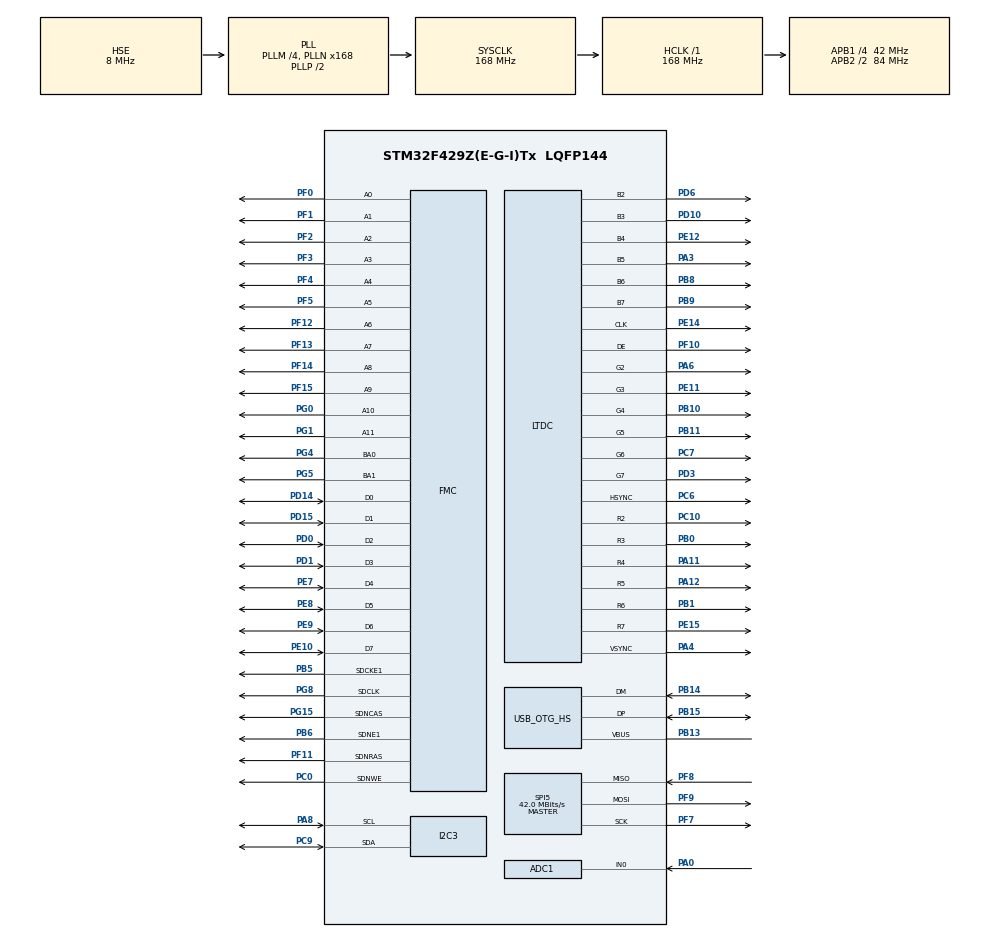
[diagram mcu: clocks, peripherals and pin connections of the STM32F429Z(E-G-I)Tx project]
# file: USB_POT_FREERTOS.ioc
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ADC1.Channel-0\#ChannelRegularConversion=ADC_CHANNEL_0
ADC1.NbrOfConversionFlag=1
ADC1.Rank-0\#ChannelRegularConversion=1
ADC1.SamplingTime-0\#ChannelRegularConversion=ADC_SAMPLETIME_3CYCLES
ADC1.master=1
DMA2D.ColorMode=DMA2D_OUTPUT_RGB565
FATFS._USE_STRFUNC=1
FREERTOS.Queues01=queue_usb,1,uint16_t,NULL,Dynamic,NULL,NULL
FREERTOS.Tasks01=USB,0,128,USB_TASK,Default,NULL,Dynamic,NULL,NULL;LCD,-3,128,LCD_TASK,Default,NULL,Dynamic,NULL,NULL;DATOS,-3,128,DATOS_TASK,Default,NULL,Dynamic,NULL,NULL
LTDC.ActiveH=240
LTDC.ActiveW=320
LTDC.PixelFormat_L0=LTDC_PIXEL_FORMAT_RGB565
LTDC.PixelFormat_L1=LTDC_PIXEL_FORMAT_RGB565
Mcu.Family=STM32F4
Mcu.Name=STM32F429Z(E-G-I)Tx
Mcu.Package=LQFP144
NVIC.OTG_HS_IRQn=true\:5\:0\:false\:false\:true\:true
NVIC.PriorityGroup=NVIC_PRIORITYGROUP_4
NVIC.TIM1_UP_TIM10_IRQn=true\:0\:0\:false\:false\:true\:false
NVIC.TimeBase=TIM1_UP_TIM10_IRQn
NVIC.TimeBaseIP=TIM1
PA0/WKUP.Signal=ADCx_IN0
PA11.Mode=RGB666
PA11.Signal=LTDC_R4
PA12.Mode=RGB666
PA12.Signal=LTDC_R5
PA13.Mode=Serial_Wire
PA13.Signal=SYS_JTMS-SWDIO
PA14.Mode=Serial_Wire
PA14.Signal=SYS_JTCK-SWCLK
PA3.Mode=RGB666
PA3.Signal=LTDC_B5
PA4.Mode=RGB666
PA4.Signal=LTDC_VSYNC
PA6.Mode=RGB666
PA6.Signal=LTDC_G2
PA8.Mode=I2C
PA8.Signal=I2C3_SCL
PB0.Mode=RGB666
PB0.Signal=LTDC_R3
PB1.Mode=RGB666
PB1.Signal=LTDC_R6
PB10.Mode=RGB666
PB10.Signal=LTDC_G4
PB11.Mode=RGB666
PB11.Signal=LTDC_G5
PB13.Mode=Activate_VBUS_FS
PB13.Signal=USB_OTG_HS_VBUS
PB14.Mode=Host_FS
PB14.Signal=USB_OTG_HS_DM
PB15.Mode=Host_FS
PB15.Signal=USB_OTG_HS_DP
PB5.Mode=SdramChipSelect2_1
PB5.Signal=FMC_SDCKE1
PB6.Mode=SdramChipSelect2_1
PB6.Signal=FMC_SDNE1
PB8.Mode=RGB666
PB8.Signal=LTDC_B6
PB9.Mode=RGB666
PB9.Signal=LTDC_B7
PC0.Signal=FMC_SDNWE
PC10.Mode=RGB666
PC10.Signal=LTDC_R2
PC6.Mode=RGB666
PC6.Signal=LTDC_HSYNC
PC7.Mode=RGB666
PC7.Signal=LTDC_G6
PC9.Mode=I2C
PC9.Signal=I2C3_SDA
PD0.Signal=FMC_D2_DA2
PD1.Signal=FMC_D3_DA3
PD10.Mode=RGB666
PD10.Signal=LTDC_B3
PD14.Signal=FMC_D0_DA0
PD15.Signal=FMC_D1_DA1
PD3.Mode=RGB666
PD3.Signal=LTDC_G7
PD6.Mode=RGB666
PD6.Signal=LTDC_B2
PE10.Signal=FMC_D7_DA7
PE11.Mode=RGB666
PE11.Signal=LTDC_G3
PE12.Mode=RGB666
PE12.Signal=LTDC_B4
PE14.Mode=RGB666
PE14.Signal=LTDC_CLK
PE15.Mode=RGB666
PE15.Signal=LTDC_R7
PE7.Signal=FMC_D4_DA4
PE8.Signal=FMC_D5_DA5
PE9.Signal=FMC_D6_DA6
PF0.Signal=FMC_A0
PF1.Signal=FMC_A1
PF10.Mode=RGB666
PF10.Signal=LTDC_DE
PF11.Signal=FMC_SDNRAS
PF12.Signal=FMC_A6
PF13.Signal=FMC_A7
PF14.Signal=FMC_A8
PF15.Signal=FMC_A9
PF2.Signal=FMC_A2
PF3.Signal=FMC_A3
PF4.Signal=FMC_A4
PF5.Signal=FMC_A5
PF7.Mode=Full_Duplex_Master
PF7.Signal=SPI5_SCK
PF8.Mode=Full_Duplex_Master
PF8.Signal=SPI5_MISO
PF9.Mode=Full_Duplex_Master
PF9.Signal=SPI5_MOSI
PG0.Signal=FMC_A10
PG1.Signal=FMC_A11
PG15.Signal=FMC_SDNCAS
PG4.Signal=FMC_A14_BA0
PG5.Signal=FMC_A15_BA1
PG8.Signal=FMC_SDCLK
PH0/OSC_IN.Mode=HSE-External-Oscillator
PH0/OSC_IN.Signal=RCC_OSC_IN
PH1/OSC_OUT.Mode=HSE-External-Oscillator
PH1/OSC_OUT.Signal=RCC_OSC_OUT
ProjectManager.HeapSize=0x200
ProjectManager.StackSize=0x400
ProjectManager.TargetToolchain=SW4STM32
RCC.48MHZClocksFreq_Value=48000000
RCC.AHBFreq_Value=168000000
RCC.APB1CLKDivider=RCC_HCLK_DIV4
RCC.APB1Freq_Value=42000000
RCC.APB1TimFreq_Value=84000000
RCC.APB2CLKDivider=RCC_HCLK_DIV2
RCC.APB2Freq_Value=84000000
RCC.APB2TimFreq_Value=168000000
RCC.CortexFreq_Value=168000000
RCC.HCLKFreq_Value=168000000
RCC.HSE_VALUE=8000000
RCC.HSI_VALUE=16000000
RCC.LSE_VALUE=32768
RCC.PLLM=4
RCC.PLLN=168
RCC.PLLQ=7
RCC.PLLSAIN=50
RCC.SYSCLKFreq_VALUE=168000000
RCC.SYSCLKSource=RCC_SYSCLKSOURCE_PLLCLK
RCC.VCOOutputFreq_Value=336000000
SH.ADCx_IN0.0=ADC1_IN0,IN0
SH.FMC_A0.0=FMC_A0,12b-sda1
SH.FMC_A1.0=FMC_A1,12b-sda1
SH.FMC_A10.0=FMC_A10,12b-sda1
SH.FMC_A11.0=FMC_A11,12b-sda1
SH.FMC_A14_BA0.0=FMC_BA0,FourSdramBanks1
SH.FMC_A15_BA1.0=FMC_BA1,FourSdramBanks1
SH.FMC_A2.0=FMC_A2,12b-sda1
SH.FMC_A3.0=FMC_A3,12b-sda1
SH.FMC_A4.0=FMC_A4,12b-sda1
SH.FMC_A5.0=FMC_A5,12b-sda1
SH.FMC_A6.0=FMC_A6,12b-sda1
SH.FMC_A7.0=FMC_A7,12b-sda1
SH.FMC_A8.0=FMC_A8,12b-sda1
SH.FMC_A9.0=FMC_A9,12b-sda1
SH.FMC_D0_DA0.0=FMC_D0,sd-8b-d1
SH.FMC_D1_DA1.0=FMC_D1,sd-8b-d1
SH.FMC_D2_DA2.0=FMC_D2,sd-8b-d1
SH.FMC_D3_DA3.0=FMC_D3,sd-8b-d1
SH.FMC_D4_DA4.0=FMC_D4,sd-8b-d1
SH.FMC_D5_DA5.0=FMC_D5,sd-8b-d1
SH.FMC_D6_DA6.0=FMC_D6,sd-8b-d1
SH.FMC_D7_DA7.0=FMC_D7,sd-8b-d1
SH.FMC_SDCLK.0=FMC_SDCLK,12b-sda1
SH.FMC_SDNCAS.0=FMC_SDNCAS,12b-sda1
SH.FMC_SDNRAS.0=FMC_SDNRAS,12b-sda1
SH.FMC_SDNWE.0=FMC_SDNWE,12b-sda1
SPI5.CalculateBaudRate=42.0 MBits/s
SPI5.Direction=SPI_DIRECTION_2LINES
SPI5.Mode=SPI_MODE_MASTER
SPI5.VirtualType=VM_MASTER
USB_HOST.USBH_HandleTypeDef-MSC_HS=hUsbHostHS
USB_HOST.VirtualModeHS=Msc
USB_OTG_HS.VirtualMode-Host_FS=Host_FS
VP_DMA2D_VS_DMA2D.Mode=DMA2D_Activate
VP_FATFS_VS_USB.Mode=USB
VP_FREERTOS_VS_ENABLE.Mode=Enabled
VP_SYS_VS_tim1.Mode=TIM1
VP_USB_HOST_VS_USB_HOST_MSC_HS.Mode=MSC_HS
board=STM32F429I-DISC1

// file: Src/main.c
/**
  ******************************************************************************
  * File Name          : main.c
  * Description        : Main program body
  ******************************************************************************
  * This notice applies to any and all portions of this file
  * that are not between comment pairs USER CODE BEGIN and
  * USER CODE END. Other portions of this file, whether
  * inserted by the user or by software development tools
  * are owned by their respective copyright owners.
  *
  * Copyright (c) 2017 STMicroelectronics International N.V.
  * All rights reserved.
  *
  * Redistribution and use in source and binary forms, with or without
  * modification, are permitted, provided that the following conditions are met:
  *
  * 1. Redistribution of source code must retain the above copyright notice,
  *    this list of conditions and the following disclaimer.
  * 2. Redistributions in binary form must reproduce the above copyright notice,
  *    this list of conditions and the following disclaimer in the documentation
  *    and/or other materials provided with the distribution.
  * 3. Neither the name of STMicroelectronics nor the names of other
  *    contributors to this software may be used to endorse or promote products
  *    derived from this software without specific written permission.
  * 4. This software, including modifications and/or derivative works of this
  *    software, must execute solely and exclusively on microcontroller or
  *    microprocessor devices manufactured by or for STMicroelectronics.
  * 5. Redistribution and use of this software other than as permitted under
  *    this license is void and will automatically terminate your rights under
  *    this license.
  *
  * THIS SOFTWARE IS PROVIDED BY STMICROELECTRONICS AND CONTRIBUTORS "AS IS"
  * AND ANY EXPRESS, IMPLIED OR STATUTORY WARRANTIES, INCLUDING, BUT NOT
  * LIMITED TO, THE IMPLIED WARRANTIES OF MERCHANTABILITY, FITNESS FOR A
  * PARTICULAR PURPOSE AND NON-INFRINGEMENT OF THIRD PARTY INTELLECTUAL PROPERTY
  * RIGHTS ARE DISCLAIMED TO THE FULLEST EXTENT PERMITTED BY LAW. IN NO EVENT
  * SHALL STMICROELECTRONICS OR CONTRIBUTORS BE LIABLE FOR ANY DIRECT, INDIRECT,
  * INCIDENTAL, SPECIAL, EXEMPLARY, OR CONSEQUENTIAL DAMAGES (INCLUDING, BUT NOT
  * LIMITED TO, PROCUREMENT OF SUBSTITUTE GOODS OR SERVICES; LOSS OF USE, DATA,
  * OR PROFITS; OR BUSINESS INTERRUPTION) HOWEVER CAUSED AND ON ANY THEORY OF
  * LIABILITY, WHETHER IN CONTRACT, STRICT LIABILITY, OR TORT (INCLUDING
  * NEGLIGENCE OR OTHERWISE) ARISING IN ANY WAY OUT OF THE USE OF THIS SOFTWARE,
  * EVEN IF ADVISED OF THE POSSIBILITY OF SUCH DAMAGE.
  *
  ******************************************************************************
  */
#include "main.h"
#include "stm32f4xx_hal.h"
#include "cmsis_os.h"
#include "fatfs.h"
#include "usb_host.h"
#include "stm32f429i_discovery.h"
#include "stm32f429i_discovery_lcd.h"

ADC_HandleTypeDef hadc1;

DMA2D_HandleTypeDef hdma2d;

I2C_HandleTypeDef hi2c3;

LTDC_HandleTypeDef hltdc;

SPI_HandleTypeDef hspi5;

SDRAM_HandleTypeDef hsdram1;

osThreadId USBHandle;
osThreadId LCDHandle;
osThreadId DATOSHandle;
osMessageQId queue_usbHandle;

/* USER CODE BEGIN PV */
/* Private variables ---------------------------------------------------------*/
typedef enum {
  DISCONNECTION_EVENT = 1,
  CONNECTION_EVENT,
}MSC_ApplicationTypeDef;

/* USER CODE BEGIN PV */
/* Private variables ---------------------------------------------------------*/
static void MSC_Application(void);
/* USER CODE END 0 */
FATFS USBDISKFatFs;           /* File system object for USB disk logical drive */
FIL MyFile;                   /* File object */
char USBDISKPath[4];          /* USB Host logical drive path */
USBH_HandleTypeDef hUSB_Host; /* USB Host handle */
int contador=0;
int boton=0;
int bandera=0;
/*
* user callbak declaration
*/
static void USBH_UserProcess  (USBH_HandleTypeDef *phost, uint8_t id);
/* USER CODE END PV */
extern Diskio_drvTypeDef  USBH_Driver;
/* USER CODE END PV */

void SystemClock_Config(void);
static void MX_GPIO_Init(void);
static void MX_DMA2D_Init(void);
static void MX_FMC_Init(void);
static void MX_I2C3_Init(void);
static void MX_LTDC_Init(void);
static void MX_SPI5_Init(void);
static void MX_ADC1_Init(void);
void USB_TASK(void const * argument);
void LCD_TASK(void const * argument);
void DATOS_TASK(void const * argument);

/* USER CODE BEGIN PFP */
/* Private function prototypes -----------------------------------------------*/

/* USER CODE END PFP */

int main(void)
{

  /* MCU Configuration----------------------------------------------------------*/

  /* Reset of all peripherals, Initializes the Flash interface and the Systick. */
  HAL_Init();

  /* Configure the system clock */
  SystemClock_Config();

  /* USER CODE BEGIN SysInit */
  BSP_LED_Init(LED3);
  BSP_LED_Init(LED4);
  BSP_PB_Init(BUTTON_KEY,BUTTON_MODE_GPIO);
  /* USER CODE END SysInit */

  /* Initialize all configured peripherals */
  MX_GPIO_Init();
  MX_DMA2D_Init();
  MX_FMC_Init();
  MX_I2C3_Init();
  MX_LTDC_Init();
  MX_SPI5_Init();
  MX_ADC1_Init();

  /* Create the thread(s) */
  /* definition and creation of USB */
  osThreadDef(USB, USB_TASK, osPriorityNormal, 0, 8 * configMINIMAL_STACK_SIZE);
  USBHandle = osThreadCreate(osThread(USB), NULL);

  /* definition and creation of LCD */
  osThreadDef(LCD, LCD_TASK, osPriorityIdle, 0, 128);
  LCDHandle = osThreadCreate(osThread(LCD), NULL);

  /* definition and creation of DATOS */
  osThreadDef(DATOS, DATOS_TASK, osPriorityHigh, 0, 128);
  DATOSHandle = osThreadCreate(osThread(DATOS), NULL);

  /* Create the queue(s) */
  /* definition and creation of queue_usb */
  osMessageQDef(queue_usb, 1, uint16_t);
  queue_usbHandle = osMessageCreate(osMessageQ(queue_usb), NULL);

  /* Start scheduler */
  osKernelStart();

  /* We should never get here as control is now taken by the scheduler */

  /* Infinite loop */
  while (1)
  {

  }

}

/** System Clock Configuration
*/
void SystemClock_Config(void)
{

  RCC_OscInitTypeDef RCC_OscInitStruct;
  RCC_ClkInitTypeDef RCC_ClkInitStruct;
  RCC_PeriphCLKInitTypeDef PeriphClkInitStruct;

    /**Configure the main internal regulator output voltage
    */
  __HAL_RCC_PWR_CLK_ENABLE();

  __HAL_PWR_VOLTAGESCALING_CONFIG(PWR_REGULATOR_VOLTAGE_SCALE1);

    /**Initializes the CPU, AHB and APB busses clocks
    */
  RCC_OscInitStruct.OscillatorType = RCC_OSCILLATORTYPE_HSE;
  RCC_OscInitStruct.HSEState = RCC_HSE_ON;
  RCC_OscInitStruct.PLL.PLLState = RCC_PLL_ON;
  RCC_OscInitStruct.PLL.PLLSource = RCC_PLLSOURCE_HSE;
  RCC_OscInitStruct.PLL.PLLM = 4;
  RCC_OscInitStruct.PLL.PLLN = 168;
  RCC_OscInitStruct.PLL.PLLP = RCC_PLLP_DIV2;
  RCC_OscInitStruct.PLL.PLLQ = 7;
  if (HAL_RCC_OscConfig(&RCC_OscInitStruct) != HAL_OK)
  {
    _Error_Handler(__FILE__, __LINE__);
  }

    /**Initializes the CPU, AHB and APB busses clocks
    */
  RCC_ClkInitStruct.ClockType = RCC_CLOCKTYPE_HCLK|RCC_CLOCKTYPE_SYSCLK
                              |RCC_CLOCKTYPE_PCLK1|RCC_CLOCKTYPE_PCLK2;
  RCC_ClkInitStruct.SYSCLKSource = RCC_SYSCLKSOURCE_PLLCLK;
  RCC_ClkInitStruct.AHBCLKDivider = RCC_SYSCLK_DIV1;
  RCC_ClkInitStruct.APB1CLKDivider = RCC_HCLK_DIV4;
  RCC_ClkInitStruct.APB2CLKDivider = RCC_HCLK_DIV2;

  if (HAL_RCC_ClockConfig(&RCC_ClkInitStruct, FLASH_LATENCY_5) != HAL_OK)
  {
    _Error_Handler(__FILE__, __LINE__);
  }

  PeriphClkInitStruct.PeriphClockSelection = RCC_PERIPHCLK_LTDC;
  PeriphClkInitStruct.PLLSAI.PLLSAIN = 50;
  PeriphClkInitStruct.PLLSAI.PLLSAIR = 2;
  PeriphClkInitStruct.PLLSAIDivR = RCC_PLLSAIDIVR_2;
  if (HAL_RCCEx_PeriphCLKConfig(&PeriphClkInitStruct) != HAL_OK)
  {
    _Error_Handler(__FILE__, __LINE__);
  }

    /**Configure the Systick interrupt time
    */
  HAL_SYSTICK_Config(HAL_RCC_GetHCLKFreq()/1000);

    /**Configure the Systick
    */
  HAL_SYSTICK_CLKSourceConfig(SYSTICK_CLKSOURCE_HCLK);

  /* SysTick_IRQn interrupt configuration */
  HAL_NVIC_SetPriority(SysTick_IRQn, 15, 0);
}

/* ADC1 init function */
static void MX_ADC1_Init(void)
{

  ADC_ChannelConfTypeDef sConfig;

    /**Configure the global features of the ADC (Clock, Resolution, Data Alignment and number of conversion)
    */
  hadc1.Instance = ADC1;
  hadc1.Init.ClockPrescaler = ADC_CLOCK_SYNC_PCLK_DIV4;
  hadc1.Init.Resolution = ADC_RESOLUTION_12B;
  hadc1.Init.ScanConvMode = DISABLE;
  hadc1.Init.ContinuousConvMode = DISABLE;
  hadc1.Init.DiscontinuousConvMode = DISABLE;
  hadc1.Init.ExternalTrigConvEdge = ADC_EXTERNALTRIGCONVEDGE_NONE;
  hadc1.Init.ExternalTrigConv = ADC_SOFTWARE_START;
  hadc1.Init.DataAlign = ADC_DATAALIGN_RIGHT;
  hadc1.Init.NbrOfConversion = 1;
  hadc1.Init.DMAContinuousRequests = DISABLE;
  hadc1.Init.EOCSelection = ADC_EOC_SINGLE_CONV;
  if (HAL_ADC_Init(&hadc1) != HAL_OK)
  {
    _Error_Handler(__FILE__, __LINE__);
  }

    /**Configure for the selected ADC regular channel its corresponding rank in the sequencer and its sample time.
    */
  sConfig.Channel = ADC_CHANNEL_0;
  sConfig.Rank = 1;
  sConfig.SamplingTime = ADC_SAMPLETIME_3CYCLES;
  if (HAL_ADC_ConfigChannel(&hadc1, &sConfig) != HAL_OK)
  {
    _Error_Handler(__FILE__, __LINE__);
  }

}

/* DMA2D init function */
static void MX_DMA2D_Init(void)
{

  hdma2d.Instance = DMA2D;
  hdma2d.Init.Mode = DMA2D_M2M;
  hdma2d.Init.ColorMode = DMA2D_OUTPUT_RGB565;
  hdma2d.Init.OutputOffset = 0;
  hdma2d.LayerCfg[1].InputOffset = 0;
  hdma2d.LayerCfg[1].InputColorMode = DMA2D_INPUT_RGB565;
  hdma2d.LayerCfg[1].AlphaMode = DMA2D_NO_MODIF_ALPHA;
  hdma2d.LayerCfg[1].InputAlpha = 0;
  if (HAL_DMA2D_Init(&hdma2d) != HAL_OK)
  {
    _Error_Handler(__FILE__, __LINE__);
  }

  if (HAL_DMA2D_ConfigLayer(&hdma2d, 1) != HAL_OK)
  {
    _Error_Handler(__FILE__, __LINE__);
  }

}

/* I2C3 init function */
static void MX_I2C3_Init(void)
{

  hi2c3.Instance = I2C3;
  hi2c3.Init.ClockSpeed = 100000;
  hi2c3.Init.DutyCycle = I2C_DUTYCYCLE_2;
  hi2c3.Init.OwnAddress1 = 0;
  hi2c3.Init.AddressingMode = I2C_ADDRESSINGMODE_7BIT;
  hi2c3.Init.DualAddressMode = I2C_DUALADDRESS_DISABLE;
  hi2c3.Init.OwnAddress2 = 0;
  hi2c3.Init.GeneralCallMode = I2C_GENERALCALL_DISABLE;
  hi2c3.Init.NoStretchMode = I2C_NOSTRETCH_DISABLE;
  if (HAL_I2C_Init(&hi2c3) != HAL_OK)
  {
    _Error_Handler(__FILE__, __LINE__);
  }

}

/* LTDC init function */
static void MX_LTDC_Init(void)
{

  LTDC_LayerCfgTypeDef pLayerCfg;
  LTDC_LayerCfgTypeDef pLayerCfg1;

  hltdc.Instance = LTDC;
  hltdc.Init.HSPolarity = LTDC_HSPOLARITY_AL;
  hltdc.Init.VSPolarity = LTDC_VSPOLARITY_AL;
  hltdc.Init.DEPolarity = LTDC_DEPOLARITY_AL;
  hltdc.Init.PCPolarity = LTDC_PCPOLARITY_IPC;
  hltdc.Init.HorizontalSync = 7;
  hltdc.Init.VerticalSync = 3;
  hltdc.Init.AccumulatedHBP = 14;
  hltdc.Init.AccumulatedVBP = 5;
  hltdc.Init.AccumulatedActiveW = 334;
  hltdc.Init.AccumulatedActiveH = 245;
  hltdc.Init.TotalWidth = 340;
  hltdc.Init.TotalHeigh = 247;
  hltdc.Init.Backcolor.Blue = 0;
  hltdc.Init.Backcolor.Green = 0;
  hltdc.Init.Backcolor.Red = 0;
  if (HAL_LTDC_Init(&hltdc) != HAL_OK)
  {
    _Error_Handler(__FILE__, __LINE__);
  }

  pLayerCfg.WindowX0 = 0;
  pLayerCfg.WindowX1 = 0;
  pLayerCfg.WindowY0 = 0;
  pLayerCfg.WindowY1 = 0;
  pLayerCfg.PixelFormat = LTDC_PIXEL_FORMAT_RGB565;
  pLayerCfg.Alpha = 0;
  pLayerCfg.Alpha0 = 0;
  pLayerCfg.BlendingFactor1 = LTDC_BLENDING_FACTOR1_CA;
  pLayerCfg.BlendingFactor2 = LTDC_BLENDING_FACTOR2_CA;
  pLayerCfg.FBStartAdress = 0;
  pLayerCfg.ImageWidth = 0;
  pLayerCfg.ImageHeight = 0;
  pLayerCfg.Backcolor.Blue = 0;
  pLayerCfg.Backcolor.Green = 0;
  pLayerCfg.Backcolor.Red = 0;
  if (HAL_LTDC_ConfigLayer(&hltdc, &pLayerCfg, 0) != HAL_OK)
  {
    _Error_Handler(__FILE__, __LINE__);
  }

  pLayerCfg1.WindowX0 = 0;
  pLayerCfg1.WindowX1 = 0;
  pLayerCfg1.WindowY0 = 0;
  pLayerCfg1.WindowY1 = 0;
  pLayerCfg1.PixelFormat = LTDC_PIXEL_FORMAT_RGB565;
  pLayerCfg1.Alpha = 0;
  pLayerCfg1.Alpha0 = 0;
  pLayerCfg1.BlendingFactor1 = LTDC_BLENDING_FACTOR1_CA;
  pLayerCfg1.BlendingFactor2 = LTDC_BLENDING_FACTOR2_CA;
  pLayerCfg1.FBStartAdress = 0;
  pLayerCfg1.ImageWidth = 0;
  pLayerCfg1.ImageHeight = 0;
  pLayerCfg1.Backcolor.Blue = 0;
  pLayerCfg1.Backcolor.Green = 0;
  pLayerCfg1.Backcolor.Red = 0;
  if (HAL_LTDC_ConfigLayer(&hltdc, &pLayerCfg1, 1) != HAL_OK)
  {
    _Error_Handler(__FILE__, __LINE__);
  }

}

/* SPI5 init function */
static void MX_SPI5_Init(void)
{

  hspi5.Instance = SPI5;
  hspi5.Init.Mode = SPI_MODE_MASTER;
  hspi5.Init.Direction = SPI_DIRECTION_2LINES;
  hspi5.Init.DataSize = SPI_DATASIZE_8BIT;
  hspi5.Init.CLKPolarity = SPI_POLARITY_LOW;
  hspi5.Init.CLKPhase = SPI_PHASE_1EDGE;
  hspi5.Init.NSS = SPI_NSS_SOFT;
  hspi5.Init.BaudRatePrescaler = SPI_BAUDRATEPRESCALER_2;
  hspi5.Init.FirstBit = SPI_FIRSTBIT_MSB;
  hspi5.Init.TIMode = SPI_TIMODE_DISABLE;
  hspi5.Init.CRCCalculation = SPI_CRCCALCULATION_DISABLE;
  hspi5.Init.CRCPolynomial = 10;
  if (HAL_SPI_Init(&hspi5) != HAL_OK)
  {
    _Error_Handler(__FILE__, __LINE__);
  }

}
/* FMC initialization function */
static void MX_FMC_Init(void)
{
  FMC_SDRAM_TimingTypeDef SdramTiming;

  /** Perform the SDRAM1 memory initialization sequence
  */
  hsdram1.Instance = FMC_SDRAM_DEVICE;
  /* hsdram1.Init */
  hsdram1.Init.SDBank = FMC_SDRAM_BANK2;
  hsdram1.Init.ColumnBitsNumber = FMC_SDRAM_COLUMN_BITS_NUM_8;
  hsdram1.Init.RowBitsNumber = FMC_SDRAM_ROW_BITS_NUM_12;
  hsdram1.Init.MemoryDataWidth = FMC_SDRAM_MEM_BUS_WIDTH_8;
  hsdram1.Init.InternalBankNumber = FMC_SDRAM_INTERN_BANKS_NUM_4;
  hsdram1.Init.CASLatency = FMC_SDRAM_CAS_LATENCY_1;
  hsdram1.Init.WriteProtection = FMC_SDRAM_WRITE_PROTECTION_DISABLE;
  hsdram1.Init.SDClockPeriod = FMC_SDRAM_CLOCK_DISABLE;
  hsdram1.Init.ReadBurst = FMC_SDRAM_RBURST_DISABLE;
  hsdram1.Init.ReadPipeDelay = FMC_SDRAM_RPIPE_DELAY_0;
  /* SdramTiming */
  SdramTiming.LoadToActiveDelay = 16;
  SdramTiming.ExitSelfRefreshDelay = 16;
  SdramTiming.SelfRefreshTime = 16;
  SdramTiming.RowCycleDelay = 16;
  SdramTiming.WriteRecoveryTime = 16;
  SdramTiming.RPDelay = 16;
  SdramTiming.RCDDelay = 16;

  if (HAL_SDRAM_Init(&hsdram1, &SdramTiming) != HAL_OK)
  {
    _Error_Handler(__FILE__, __LINE__);
  }

}

/** Configure pins as
        * Analog
        * Input
        * Output
        * EVENT_OUT
        * EXTI
*/
static void MX_GPIO_Init(void)
{

  /* GPIO Ports Clock Enable */
  __HAL_RCC_GPIOF_CLK_ENABLE();
  __HAL_RCC_GPIOH_CLK_ENABLE();
  __HAL_RCC_GPIOC_CLK_ENABLE();
  __HAL_RCC_GPIOA_CLK_ENABLE();
  __HAL_RCC_GPIOB_CLK_ENABLE();
  __HAL_RCC_GPIOG_CLK_ENABLE();
  __HAL_RCC_GPIOE_CLK_ENABLE();
  __HAL_RCC_GPIOD_CLK_ENABLE();

}

/* USB_TASK function */
void USB_TASK(void const * argument)
{
	/* init code for USB_HOST */
		osEvent event;

		  /* Link the USB Host disk I/O driver */
		if(FATFS_LinkDriver(&USBH_Driver, USBDISKPath) == 0)
		  	  {
		  	    /* Init Host Library */
		  	    USBH_Init(&hUSB_Host, USBH_UserProcess, 0);

		  	    /* Add Supported Class */
		  	    USBH_RegisterClass(&hUSB_Host, USBH_MSC_CLASS);

		  	    /* Start Host Process */
		  	    USBH_Start(&hUSB_Host);

		    for( ;; )
		    {
		    	boton=BSP_PB_GetState(BUTTON_KEY);
				 if(boton!=0){
					 bandera=1;
				 }
		     if(bandera==1){
		      event = osMessageGet(queue_usbHandle, osWaitForever);

		      if(event.status == osEventMessage)
		      {
		        switch(event.value.v)
		        {
		        case CONNECTION_EVENT:
		        		MSC_Application();
		          break;

		        case DISCONNECTION_EVENT:
		        	osMessagePut(queue_usbHandle, CONNECTION_EVENT, 0);
		          break;

		        default:
		          break;
		        }
		      }

		    }
		     osDelay(10);
		    }
		  }
}

/* LCD_TASK function */
void LCD_TASK(void const * argument)
{
	BSP_LCD_Init();
	  BSP_LCD_LayerDefaultInit(LCD_BACKGROUND_LAYER, LCD_FRAME_BUFFER);
	  BSP_LCD_LayerDefaultInit(LCD_FOREGROUND_LAYER, LCD_FRAME_BUFFER);
	  BSP_LCD_SelectLayer(LCD_FOREGROUND_LAYER);
	  BSP_LCD_DisplayOn();
	  BSP_LCD_Clear(LCD_COLOR_WHITE);
	  /* USER CODE END 2 */

	  /* Infinite loop */
	  /* USER CODE BEGIN WHILE */
	  while (1)
	  {
		  BSP_LCD_SetTextColor(LCD_COLOR_DARKGREEN);
		  BSP_LCD_DisplayStringAtLine(1,(uint8_t*)"HOLA MUNDO 1");
		  osDelay(1000);
		  BSP_LCD_SetTextColor(LCD_COLOR_DARKBLUE);
		  BSP_LCD_DisplayStringAtLine(2,(uint8_t*)"HOLA MUNDO 2");
		  osDelay(1000);
		  BSP_LCD_SetTextColor(LCD_COLOR_BLACK);
		  BSP_LCD_DisplayStringAtLine(3,(uint8_t*)"HOLA MUNDO 3");
		  osDelay(1000);
		  BSP_LCD_SetTextColor(LCD_COLOR_DARKYELLOW);
		  BSP_LCD_DisplayStringAtLine(4,(uint8_t*)"HOLA MUNDO 4");
		  osDelay(1000);
		  BSP_LCD_SetTextColor(LCD_COLOR_DARKMAGENTA);
		  BSP_LCD_DisplayStringAtLine(5,(uint8_t*)"HOLA MUNDO 5");
		  osDelay(1000);
		  BSP_LCD_Clear(LCD_COLOR_WHITE);
		  osDelay(1000);

	  }
}

/* DATOS_TASK function */
void DATOS_TASK(void const * argument)
{
  /* USER CODE BEGIN DATOS_TASK */
  /* Infinite loop */
  for(;;)
  {
	  BSP_LED_Toggle(LED4);
    osDelay(200);
  }
  /* USER CODE END DATOS_TASK */
}

static void MSC_Application(void)
{

  FRESULT res;                                          /* FatFs function common result code */
  uint32_t byteswritten, bytesread;                     /* File write/read counts */
  uint8_t wtext[] = "HELLO WORLD"; /* File write buffer */
  uint8_t rtext[100];                                   /* File read buffer */

  /* Register the file system object to the FatFs module */
  if(f_mount(&USBDISKFatFs, (TCHAR const*)USBDISKPath, 0) == FR_OK)
  {
      /* Create and Open a new text file object with write access */
      if(open_append(&MyFile, "STM32.TXT") == FR_OK)
	  //if(f_open(&MyFile, "STM32_2.TXT", FA_CREATE_ALWAYS | FA_WRITE) != FR_OK)
      {
    	for(;;){
    	  BSP_LED_Off(LED3);
        /* Write data to the text file */
        res = f_write(&MyFile, wtext, sizeof(wtext), (void *)&byteswritten);
        f_printf(&MyFile, "\r\n");
        f_printf(&MyFile, "%d\r\n",contador);
        if(contador>254){
			BSP_LED_On(LED3);
			f_close(&MyFile);
			//FATFS_UnLinkDriver(USBDISKPath);
			bandera=0;
			osMessagePut(queue_usbHandle, DISCONNECTION_EVENT, 0);
		  }
		  else{
			osMessagePut(queue_usbHandle, CONNECTION_EVENT, 0);
		  }
		  contador++;
    	}

        /* Open the text file object with read access */
        /*if(f_open(&MyFile, "STM32.TXT", FA_READ) != FR_OK)
        {

          Error_Handler();
        }
        else
        {

          res = f_read(&MyFile, rtext, sizeof(rtext), (void *)&bytesread);

          if((bytesread == 0) || (res != FR_OK))
          {

            Error_Handler();
          }
          else
          {

            f_close(&MyFile);

            if(contador>254){
            	BSP_LED_On(LED3);
            	FATFS_UnLinkDriver(USBDISKPath);
            	osMessagePut(queue_usbHandle, DISCONNECTION_EVENT, 0);
            }
            else{
            	osMessagePut(queue_usbHandle, CONNECTION_EVENT, 0);
            }
            contador++;

          }
        }*/

    }
  }
}

static void USBH_UserProcess  (USBH_HandleTypeDef *phost, uint8_t id){
	switch(id)
	  {
	  case HOST_USER_SELECT_CONFIGURATION:
	    break;

	  case HOST_USER_DISCONNECTION:
	    BSP_LED_Off(LED3);
	    BSP_LED_Off(LED4);
	    osMessagePut(queue_usbHandle, DISCONNECTION_EVENT, 0);
	    break;

	  case HOST_USER_CLASS_ACTIVE:
	    osMessagePut(queue_usbHandle, CONNECTION_EVENT, 0);
	    break;

	  default:
	    break;
	  }
}

void HAL_TIM_PeriodElapsedCallback(TIM_HandleTypeDef *htim)
{
  if (htim->Instance == TIM1) {
    HAL_IncTick();
  }
}

void _Error_Handler(char * file, int line)
{
  while(1)
  {
  }
}

/************************ (C) COPYRIGHT STMicroelectronics *****END OF FILE****/
